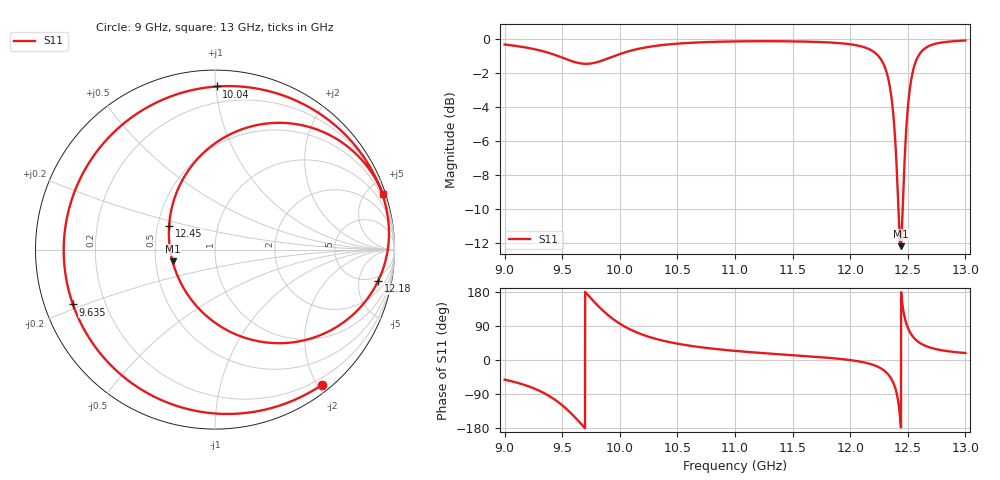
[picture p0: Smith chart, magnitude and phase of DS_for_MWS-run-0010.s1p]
! TOUCHSTONE file generated by CST DESIGN STUDIO
! Date and time: Tue Feb  4 16:28:43 2025
! Project name: C:\Work\MatlabApps\UnitCellOptimizationMatlab\CST\unitcell.cst
! Tree item: Tasks\Sweep1\SPara1\S-Parameters
! Header version: 2024
! Port assignment regex: !\s*Touchstone port\s*([0-9]+)\s*=\s*(CST MWS port|CST DES external port|CST DES block port)\s*(.+)\s* \(\"(.*)\"\)(\s*mode\s*([0-9]+))?.*
! Touchstone port assignment:
! Touchstone port 1 = CST DES external port 1 ("")
# GHz S MA R 50
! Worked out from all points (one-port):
!   4001 points, 9 GHz to 13 GHz, reference 50 ohm
!   lowest |S11| = -12.2 dB at 12.44 GHz (marker M1), VSWR 1.65, Z = 30.6 - j4.21 ohm
!   |S11| at or under -10 dB: 12.41839 GHz to 12.45563 GHz (37.24 MHz wide, 0.299 % of centre)
!   S11 on the Smith chart (normalised r, x): 9 GHz: 0.10, -2.06; 9.635 GHz: 0.08, -0.19; 10.04 GHz: 0.10, +1.01; 12.18 GHz: 3.70, -9.02; 12.45 GHz: 0.58, +0.17; 13 GHz: 0.25, +6.17
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9  0.9608 -51.7
9.262  0.9303 -75.9
9.396  0.905 -96.7
9.5  0.8793 -119.4
9.635  0.8486 -158.9
9.731  0.8435 168.8
9.836  0.8593 135.4
9.914  0.8789 114.5
10  0.9007 95.8
10.035  0.9088 89.4
10.241  0.944 62.3
10.5  0.9662 43.1
11  0.981 24.1
11.5  0.9811 12.8
12  0.9621 -0.2
12.179  0.9256 -10.9
12.295  0.8331 -27.9
12.369  0.6239 -56.7
12.403  0.4214 -87.3
12.437  0.2454 -164.7
12.451  0.2877 152.8
12.477  0.4738 107.2
12.5  0.6245 85.6
12.528  0.7514 68.8
12.567  0.852 54.0
12.649  0.9358 37.8
12.777  0.9715 26.6
13  0.9873 18.4
